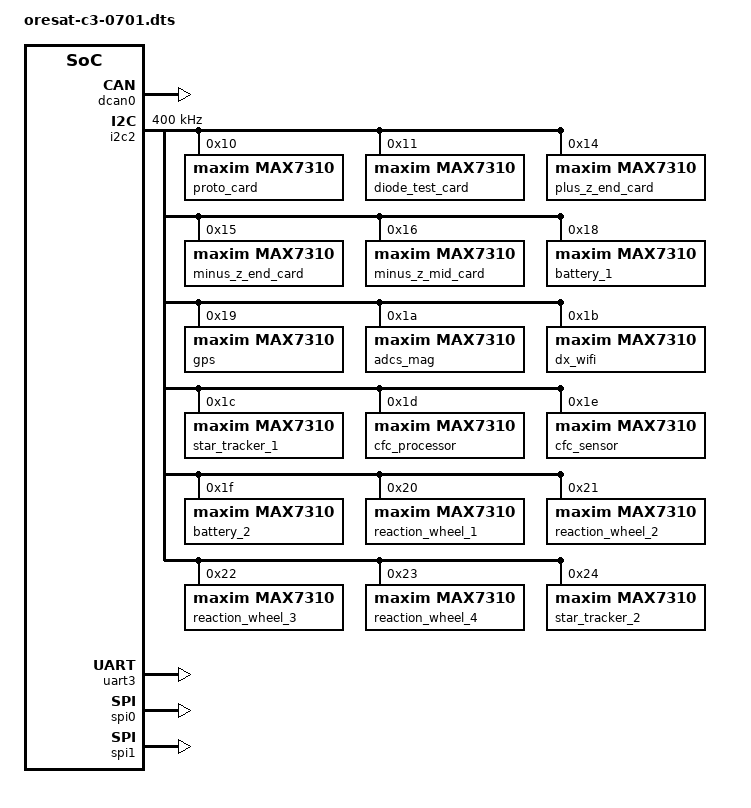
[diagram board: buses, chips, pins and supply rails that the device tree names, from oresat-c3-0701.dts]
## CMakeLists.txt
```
# SPDX-License-Identifier: Apache-2.0

cmake_minimum_required(VERSION 3.20.0)

list(APPEND BOARD_ROOT ${CMAKE_CURRENT_SOURCE_DIR})
set(BOARD "mcxn947_science_card/mcxn947/cpu0")

find_package(Zephyr REQUIRED HINTS $ENV{ZEPHYR_BASE})
project(osiris_science_card)

set(VERSION_MAJOR "1")
set(VERSION_MINOR "0")
set(PATCHLEVEL "0")
set(VERSION_TWEAK "0")
set(EXTRAVERSION "00000000")

find_package(Git QUIET REQUIRED)

execute_process(
    COMMAND "${GIT_EXECUTABLE}" describe --always HEAD
    WORKING_DIRECTORY "${CMAKE_SOURCE_DIR}"
    RESULT_VARIABLE res
    OUTPUT_VARIABLE EXTRAVERSION
    ERROR_QUIET
    OUTPUT_STRIP_TRAILING_WHITESPACE)

set_property(GLOBAL APPEND
    PROPERTY CMAKE_CONFIGURE_DEPENDS
    "${CMAKE_SOURCE_DIR}/.git/index")

#
# utilize settings to autogenerate a header file to adjust the build inside the C code
#
configure_file (
   "${PROJECT_SOURCE_DIR}/src/VERSION.in"
   "${PROJECT_SOURCE_DIR}/VERSION"
   )
include_directories("${PROJECT_SOURCE_DIR}") # needed so c code can find this header

target_sources(app PRIVATE src/main.c)

# Compile in various demos depending on Kconfig values.
target_sources_ifdef(CONFIG_ADC_INTF     app PRIVATE src/adc.c)
target_sources_ifdef(CONFIG_BLINK        app PRIVATE src/blink.c)
target_sources_ifdef(CONFIG_OSIRIS       app PRIVATE src/osiris.c)
target_sources_ifdef(CONFIG_INSTLOOP     app PRIVATE src/serial.c)
target_sources_ifdef(CONFIG_CAN_INTF     app PRIVATE src/can.c)
target_sources_ifdef(CONFIG_CAN_INTF     app PRIVATE src/can_util.c)
target_sources_ifdef(CONFIG_CAN_INTF     app PRIVATE objdict/CO_OD.c)
zephyr_include_directories(objdict)
```

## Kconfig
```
# SPDX-License-Identifier: Apache-2.0

menu "Oresat MCXN947 Science Card"

	config ADC_INTF
		bool "Enable monitoring one or more ADC channels."
		select ADC
		select DMA
		select ADC_STM32 if SOC_STM32F091XC
		select ADC_STM32_DMA if SOC_STM32F091XC
		select DMA_STM32 if SOC_STM32F091XC
		help
		  Outputs the data scaled to mV.

	if ADC_INTF

		config SEQUENCE_SAMPLES
			int "Number of samples to be made on the sequence for each channel."
			default 1

   	config SEQUENCE_OVERSAMPLING
   		int "Number of conversion results to average for each sample."
   		default 7

		config SEQUENCE_RESOLUTION
			int "Set the resolution of the sequence readings."
			default 12

		config SEQUENCE_32BITS_REGISTERS
			bool "ADC data sequences are on 32bits"
			default n

	endif  # ADC_INTF

config BLINK
	bool "Blink an LED"
	default y
	help
	  Enable the thread which blinks an LED.

config OSIRIS
	bool "Osiris boot control"
	default y
	help
	  Enable the thread that controls the OSIRIS bootup process.

config INSTLOOP
	bool "Serial loop between the instrument and c3"
	default y
	help
	  Enable the thread that loops the UART device.

config CAN_INTF
	bool "Enable sending CAN packets."
	default y
	select CAN
	select CANOPENNODE
	select USE_STM32_HAL_FLASH if SOC_STM32F091XC
	select USE_STM32_HAL_FLASH_EX if SOC_STM32F091XC
	select USE_STM32_HAL_CAN if SOC_STM32F091XC
	help
	  Enable CAN interface and send data from CO_OD.

	if CAN_INTF && !SOC_STM32F091XC

		config MCUBOOT_ALLOWED
			bool "MCUboot allowed."
			default y
			select BOOTLOADER_MCUBOOT
			select MCUBOOT_GENERATE_UNSIGNED_IMAGE
			select FLASH
			select FLASH_MAP
			select STREAM_FLASH
			select IMG_MANAGER
			select MCUBOOT_GENERATE_CONFIRMED_IMAGE
			select CANOPENNODE_PROGRAM_DOWNLOAD
			help
			  Define helper symbol CONFIG_MCUBOOT_ALLOWED for all supported
			  architectures that have room for the required partitions in flash
			  and have those partitions defined in the device tree. This
			  eliminates the need for the user to either change prj.conf to
			  enable MCUBOOT or provide an EXTRA_CONF_FILE option to west that
			  names an overlay file.

		config CAN_ID_MUST_BE_SET
			bool "Do not contine if CAN node id not set."
			default y
			help
			  If enabled, do not perform normal functions if CAN node id
			  is not stored in settings.

	endif
endmenu

source "Kconfig.zephyr"
```

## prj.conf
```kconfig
CONFIG_GPIO=y
CONFIG_CONSOLE=y
CONFIG_UART_CONSOLE=y
CONFIG_STDOUT_CONSOLE=y
CONFIG_ORESAT_COMMON_LIB=y
CONFIG_APPLICATION_INIT_PRIORITY=91
CONFIG_BUILD_OUTPUT_HEX=y

CONFIG_SYSTEM_WORKQUEUE_STACK_SIZE=2048
CONFIG_MAIN_STACK_SIZE=2048
CONFIG_HEAP_MEM_POOL_SIZE=4096

CONFIG_HWINFO=y
CONFIG_RTIO=y
CONFIG_RTIO_SYS_MEM_BLOCKS=y

# CONFIG_I2C=y
# CONFIG_SENSOR=y
# CONFIG_SENSOR_ASYNC_API=y
# CONFIG_I2C_MCUX_LPI2C_BUS_RECOVERY=y

CONFIG_CAN_INTF=y
CONFIG_CANOPENNODE_SYNC_THREAD=n
CONFIG_CAN_MCUX_FLEXCAN_MAX_FILTERS=6
CONFIG_CANOPENNODE_SDO_BUFFER_SIZE=889
CONFIG_CAN_DEFAULT_BITRATE=1000000
CONFIG_MCUBOOT_ALLOWED=y
CONFIG_CANOPEN_LOG_LEVEL_DBG=y
CONFIG_CAN_LOG_LEVEL_DBG=y

CONFIG_LOG=y
CONFIG_LOG_MODE_DEFERRED=n
CONFIG_LOG_MODE_IMMEDIATE=y
CONFIG_LOG_BUFFER_SIZE=20480
CONFIG_LOG_PRINTK=y
CONFIG_CBPRINTF_FP_SUPPORT=y

CONFIG_LOG_DEFAULT_LEVEL=3
#CONFIG_SENSOR_LOG_LEVEL_INF=y
#CONFIG_KERNEL_LOG_LEVEL_INF=y
#CONFIG_CANOPEN_LOG_LEVEL_DBG=y
#CONFIG_CAN_LOG_LEVEL_INF=y
#CONFIG_I2C_LOG_LEVEL_DBG=y
#CONFIG_ADC_LOG_LEVEL_INF=y
#CONFIG_DAC_LOG_LEVEL_INF=y
#CONFIG_PWM_LOG_LEVEL_INF=y

CONFIG_ASSERT=y

CONFIG_DEVICE_DT_METADATA=y
CONFIG_REBOOT=y

# changes for settings
CONFIG_FLASH=y
CONFIG_FLASH_MAP=y
CONFIG_SETTINGS=y
CONFIG_SETTINGS_RUNTIME=y
CONFIG_NVS=y
CONFIG_SETTINGS_NVS=y
CONFIG_MPU_ALLOW_FLASH_WRITE=y

# enable/disable app components
CONFIG_BLINK=y

# changes for shell
CONFIG_SHELL=n
##CONFIG_I2C_SHELL=y
#CONFIG_SHELL_LOG_BACKEND=y
##CONFIG_SHELL_CMDS=y

# enforce can ID cannot be default (use shell)
CONFIG_CAN_ID_MUST_BE_SET=n

CONFIG_GPIO_GET_CONFIG=y
CONFIG_INSTLOOP=n
CONFIG_SERIAL=y
CONFIG_RING_BUFFER=y
CONFIG_UART_INTERRUPT_DRIVEN=y
CONFIG_UART_USE_RUNTIME_CONFIGURE=y
CONFIG_OSIRIS=y
```

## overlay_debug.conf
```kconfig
CONFIG_REBOOT=y
CONFIG_ASSERT=n
CONFIG_DEBUG=y

# deferred logging ensures logging has minimal affect on real-time
# responsiveness, but it consumes a lot of RAM and can easily lose
# log messages when debug logging is enabled
CONFIG_LOG_MODE_DEFERRED=n
CONFIG_LOG_MODE_IMMEDIATE=y
CONFIG_LOG_BUFFER_SIZE=20480

CONFIG_SENSOR_LOG_LEVEL_INF=y
CONFIG_KERNEL_LOG_LEVEL_INF=y
CONFIG_CANOPEN_LOG_LEVEL_DBG=y
CONFIG_CAN_LOG_LEVEL_DBG=y

CONFIG_APPLICATION_INIT_PRIORITY=91
CONFIG_DEBUG_THREAD_INFO=y
CONFIG_THREAD_RUNTIME_STATS=y
CONFIG_DEBUG_OPTIMIZATIONS=y
CONFIG_COVERAGE=n

CONFIG_THREAD_ANALYZER=y
CONFIG_THREAD_ANALYZER_USE_PRINTK=y
CONFIG_THREAD_ANALYZER_AUTO=y
CONFIG_THREAD_ANALYZER_AUTO_INTERVAL=300

CONFIG_INIT_STACKS=y
CONFIG_STACK_SENTINEL=y
CONFIG_STACK_CANARIES=y
#CONFIG_HW_STACK_PROTECTION=y

CONFIG_TEST_RANDOM_GENERATOR=y

CONFIG_DEBUG_THREAD_INFO=y
CONFIG_THREAD_RUNTIME_STATS=y
CONFIG_DEBUG_OPTIMIZATIONS=y
CONFIG_COVERAGE=n

#CONFIG_DEBUG_COREDUMP=y
#CONFIG_DEBUG_COREDUMP_BACKEND_LOGGING=y
#CONFIG_DEBUG_COREDUMP_LOG_LEVEL_DBG=y
#CONFIG_DEBUG_COREDUMP_MEMORY_DUMP_THREADS=y
CONFIG_FAULT_DUMP=1
```

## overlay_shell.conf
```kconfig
# This is a special configuration to allow the shell to run in the serial terminal
# interface. It allows setting the CAN nodeid, for example.
# Build instructions:
#   west build -p -- -DEXTRA_CONF_FILE=overlay_shell.conf

CONFIG_LOG_MODE_DEFERRED=y
CONFIG_LOG_MODE_IMMEDIATE=n
CONFIG_LOG_BUFFER_SIZE=20480

CONFIG_SHELL=y
CONFIG_SHELL_LOG_BACKEND=y
CONFIG_CANOPEN_LOG_LEVEL_DBG=y
CONFIG_CAN_LOG_LEVEL_DBG=y

# enable this to add i2c interface scanning, for example
#CONFIG_I2C_SHELL=y
```

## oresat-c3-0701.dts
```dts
/* OreSat C3 v7.0 device tree */

/dts-v1/;

#include "oresat-base.dtsi"

&am33xx_pinmux {
  c3_dcan0_pins: pinmux-c3-dcan0-pins {
    pinctrl-single,pins = <
      AM33XX_IOPAD(AM335X_PIN_MII1_TXD2, PIN_INPUT_PULLUP | MUX_MODE1) /* dcan0_rx */
      AM33XX_IOPAD(AM335X_PIN_MII1_TXD3, PIN_OUTPUT_PULLUP | MUX_MODE1) /* dcan0_tx */
    >;
  };

  c3_spi0_pins: pinmux-c3-spi0-pins {
    pinctrl-single,pins = <
      AM33XX_PADCONF(AM335X_PIN_SPI0_SCLK, PIN_INPUT_PULLUP, MUX_MODE0) /* spi0_sclk */
      AM33XX_PADCONF(AM335X_PIN_SPI0_D0, PIN_INPUT_PULLUP, MUX_MODE0) /* spi0_d0 */
      AM33XX_PADCONF(AM335X_PIN_SPI0_D1, PIN_OUTPUT_PULLUP, MUX_MODE0) /* spi0_d1 */
      AM33XX_PADCONF(AM335X_PIN_SPI0_CS0, PIN_OUTPUT_PULLUP, MUX_MODE0) /* spi0_cs0 */
    >;
  };

  c3_spi1_pins: pinmux-c3-spi1-pins {
    pinctrl-single,pins = <
      AM33XX_IOPAD(AM335X_PIN_ECAP0_IN_PWM0_OUT, PIN_INPUT_PULLUP | MUX_MODE4) /* spi1_sclk */
      AM33XX_IOPAD(AM335X_PIN_UART0_CTSN, PIN_INPUT_PULLUP | MUX_MODE4) /* spi1_d0 */
      AM33XX_IOPAD(AM335X_PIN_UART0_RTSN, PIN_OUTPUT_PULLUP | MUX_MODE4) /* spi1_d1 */
      AM33XX_IOPAD(AM335X_PIN_XDMA_EVENT_INTR0, PIN_OUTPUT_PULLUP | MUX_MODE4) /* spi1_cs1 */
    >;
  };

  c3_i2c2_pins: pinmux-c3-i2c2-pins {
    pinctrl-single,pins = <
      AM33XX_IOPAD(AM335X_PIN_UART1_CTSN, PIN_INPUT | MUX_MODE3) /* i2c2_sda */
      AM33XX_IOPAD(AM335X_PIN_UART1_RTSN, PIN_INPUT | MUX_MODE3) /* i2c2_scl */
    >;
  };

  c3_uart3_pins: pinmux-uart3-pins {
    pinctrl-single,pins = <
      AM33XX_PADCONF(AM335X_PIN_MII1_RXD3, PIN_INPUT_PULLUP, MUX_MODE1) /* uart3_rxd */
      AM33XX_PADCONF(AM335X_PIN_MII1_RXD2, PIN_OUTPUT_PULLDOWN, MUX_MODE1) /* uart3_txd */
    >;
  };

  c3_gpio0_pins: pinmux-c3-gpio0-pins {
    pinctrl-single,pins = <
      AM33XX_IOPAD(AM335X_PIN_XDMA_EVENT_INTR1, PIN_INPUT | MUX_MODE7) /* gpio0_20 / FIRE_ANTENNAS_1 */
      AM33XX_IOPAD(AM335X_PIN_MII1_TXD1, PIN_OUTPUT | MUX_MODE7) /* gpio0_21 / LBAND_LO_SDATA */
      AM33XX_IOPAD(AM335X_PIN_MII1_TXD0, PIN_OUTPUT | MUX_MODE7) /* gpio0_28 / LBAND_LO_SCLK */
      AM33XX_IOPAD(AM335X_PIN_RMII1_REF_CLK, PIN_INPUT | MUX_MODE7) /* gpio0_29 / LBAND_LO_nLOCKED */
      AM33XX_IOPAD(AM335X_PIN_GPMC_WAIT0, PIN_INPUT | PIN_INPUT_PULLDOWN | MUX_MODE7) /* gpio0_30 / UHF_IRQ */
      AM33XX_IOPAD(AM335X_PIN_GPMC_WPN, PIN_INPUT | PIN_INPUT_PULLDOWN | MUX_MODE7) /* gpio0_31 / LBAND_IRQ */
    >;
  };

  c3_gpio1_pins: pinmux-c3-gpio1-pins {
    pinctrl-single,pins = <
      AM33XX_IOPAD(AM335X_PIN_GPMC_AD13, PIN_OUTPUT | MUX_MODE7) /* gpio1_13 / I2C_SYS_DISABLE */
      AM33XX_IOPAD(AM335X_PIN_GPMC_AD14, PIN_OUTPUT | MUX_MODE7) /* gpio1_14 / USB_OVER_UART */
      AM33XX_IOPAD(AM335X_PIN_GPMC_A0, PIN_OUTPUT | MUX_MODE7) /* gpio1_16 / UHF_ENABLE */
      AM33XX_IOPAD(AM335X_PIN_GPMC_A3, PIN_OUTPUT | MUX_MODE7) /* gpio1_19 / LBAND_ENABLE */
      AM33XX_IOPAD(AM335X_PIN_GPMC_A9, PIN_INPUT | MUX_MODE7) /* gpio1_25 / UHF_TOT_OK */
      AM33XX_IOPAD(AM335X_PIN_GPMC_A10, PIN_OUTPUT | MUX_MODE7) /* gpio1_26 / UHF_TOT_CLEAR */
      AM33XX_IOPAD(AM335X_PIN_GPMC_A11, PIN_OUTPUT | MUX_MODE7) /* gpio1_27 / UHF_PA_ENABLE */
    >;
  };

  c3_gpio2_pins: pinmux-c3-gpio2-pins {
    pinctrl-single,pins = <
      AM33XX_IOPAD(AM335X_PIN_LCD_VSYNC, PIN_OUTPUT | MUX_MODE7) /* gpio2_22 / RADIO_ENABLE */
      AM33XX_IOPAD(AM335X_PIN_LCD_AC_BIAS_EN, PIN_OUTPUT | MUX_MODE7) /* gpio2_25 / PET_WDT */
    >;
  };

  c3_gpio3_pins: pinmux-c3-gpio3-pins {
    pinctrl-single,pins = <
      AM33XX_IOPAD(AM335X_PIN_MII1_TX_CLK, PIN_OUTPUT | MUX_MODE7) /* gpio3_9 / LBAND_LO_nSEN */
      AM33XX_IOPAD(AM335X_PIN_MCASP0_ACLKX, PIN_INPUT | MUX_MODE7) /* gpio3_14 / FIRE_HELICAL_2 */
      AM33XX_IOPAD(AM335X_PIN_MCASP0_FSX, PIN_OUTPUT | MUX_MODE7) /* gpio3_15 / TEST_HELICAL */
      AM33XX_IOPAD(AM335X_PIN_MCASP0_AXR0, PIN_INPUT | MUX_MODE7) /* gpio3_16 / FIRE_HELICAL_1 */
      AM33XX_IOPAD(AM335X_PIN_MCASP0_AHCLKR, PIN_OUTPUT | MUX_MODE7) /* gpio3_17 / TEST_ANTENNAS */
      AM33XX_IOPAD(AM335X_PIN_MCASP0_ACLKR, PIN_INPUT | MUX_MODE7) /* gpio3_18 / RADIO_nFAULT */
      AM33XX_IOPAD(AM335X_PIN_MCASP0_FSR, PIN_INPUT | MUX_MODE7) /* gpio3_19 / OPD_nFAULT */
      AM33XX_IOPAD(AM335X_PIN_MCASP0_AXR1, PIN_OUTPUT | MUX_MODE7) /* gpio3_20 / OPD_nENABLE */
      AM33XX_IOPAD(AM335X_PIN_MCASP0_AHCLKX, PIN_INPUT | MUX_MODE7) /* gpio3_21 / FIRE_ANTENNAS_2 */
    >;
  };
};

&gpio0 {
  pinctrl-names = "default";
  pinctrl-0 = <&c3_gpio0_pins>;
  gpio-line-names =
    /* 0  */ "",
    /* 1  */ "",
    /* 2  */ "",
    /* 3  */ "",
    /* 4  */ "",
    /* 5  */ "",
    /* 6  */ "",
    /* 7  */ "",
    /* 8  */ "",
    /* 9  */ "",
    /* 10 */ "",
    /* 11 */ "",
    /* 12 */ "",
    /* 13 */ "",
    /* 14 */ "",
    /* 15 */ "",
    /* 16 */ "",
    /* 17 */ "",
    /* 18 */ "",
    /* 19 */ "",
    /* 20 */ "FIRE_ANTENNAS_1",
    /* 21 */ "LBAND_LO_SDATA",
    /* 22 */ "",
    /* 23 */ "",
    /* 24 */ "",
    /* 25 */ "",
    /* 26 */ "",
    /* 27 */ "",
    /* 28 */ "LBAND_LO_SCLK",
    /* 29 */ "LBAND_LO_nLOCKED",
    /* 30 */ "UHF_IRQ",
    /* 31 */ "LBAND_IRQ";
};

&gpio1 {
  pinctrl-names = "default";
  pinctrl-0 = <&c3_gpio1_pins>;
  gpio-line-names =
    /* 0  */ "",
    /* 1  */ "",
    /* 2  */ "",
    /* 3  */ "",
    /* 4  */ "",
    /* 5  */ "",
    /* 6  */ "",
    /* 7  */ "",
    /* 8  */ "",
    /* 9  */ "",
    /* 10 */ "",
    /* 11 */ "",
    /* 12 */ "",
    /* 13 */ "I2C_SYS_DISABLE",
    /* 14 */ "USB_OVER_UART",
    /* 15 */ "",
    /* 16 */ "UHF_ENABLE",
    /* 17 */ "",
    /* 18 */ "",
    /* 19 */ "LBAND_ENABLE",
    /* 20 */ "",
    /* 21 */ "USR0",
    /* 22 */ "USR1",
    /* 23 */ "USR2",
    /* 24 */ "USR3",
    /* 25 */ "UHF_TOT_OK",
    /* 26 */ "UHF_TOT_CLEAR",
    /* 27 */ "UHF_PA_ENABLE",
    /* 28 */ "",
    /* 29 */ "",
    /* 30 */ "",
    /* 31 */ "";
};

&gpio2 {
  pinctrl-names = "default";
  pinctrl-0 = <&c3_gpio2_pins>;
  gpio-line-names =
    /* 0  */ "",
    /* 1  */ "",
    /* 2  */ "",
    /* 3  */ "",
    /* 4  */ "",
    /* 5  */ "",
    /* 6  */ "",
    /* 7  */ "",
    /* 8  */ "",
    /* 9  */ "",
    /* 10 */ "",
    /* 11 */ "",
    /* 12 */ "",
    /* 13 */ "",
    /* 14 */ "",
    /* 15 */ "",
    /* 16 */ "",
    /* 17 */ "",
    /* 18 */ "",
    /* 19 */ "",
    /* 20 */ "",
    /* 21 */ "",
    /* 22 */ "RADIO_ENABLE",
    /* 23 */ "",
    /* 24 */ "",
    /* 25 */ "PET_WDT",
    /* 26 */ "",
    /* 27 */ "",
    /* 28 */ "",
    /* 29 */ "",
    /* 30 */ "",
    /* 31 */ "";
};

&gpio3 {
  pinctrl-names = "default";
  pinctrl-0 = <&c3_gpio3_pins>;
  gpio-line-names =
    /* 0  */ "",
    /* 1  */ "",
    /* 2  */ "",
    /* 3  */ "",
    /* 4  */ "",
    /* 5  */ "",
    /* 6  */ "",
    /* 7  */ "",
    /* 8  */ "",
    /* 9  */ "LBAND_LO_nSEN",
    /* 10 */ "",
    /* 11 */ "",
    /* 12 */ "",
    /* 13 */ "",
    /* 14 */ "FIRE_HELICAL_2",
    /* 15 */ "TEST_HELICAL",
    /* 16 */ "FIRE_HELICAL_1",
    /* 17 */ "TEST_ANTENNAS",
    /* 18 */ "RADIO_nFAULT",
    /* 19 */ "OPD_nFAULT",
    /* 20 */ "OPD_nENABLE",
    /* 21 */ "FIRE_ANTENNAS_2",
    /* 22 */ "",
    /* 23 */ "",
    /* 24 */ "",
    /* 25 */ "",
    /* 26 */ "",
    /* 27 */ "",
    /* 28 */ "",
    /* 29 */ "",
    /* 30 */ "",
    /* 31 */ "";
};

&dcan0 {
  status = "okay";
  pinctrl-names = "default";
  pinctrl-0 = <&c3_dcan0_pins>;
};

&i2c2 {
  #address-cells = <1>;
  #size-cells = <0>;
  status = "okay";
  pinctrl-names = "default";
  pinctrl-0 = <&c3_i2c2_pins>;
  clock-frequency = <400000>;

  proto_card: gpio@10 {
    compatible = "maxim,max7310";
    reg = <0x10>;
    gpio-controller;
    #gpio-cells = <2>;
    gpio-line-names =
      /* 0  */ "M33",
      /* 1  */ "",
      /* 2  */ "FAULT",
      /* 3  */ "[ON/OFF]",
      /* 4  */ "CB-RESET",
      /* 5  */ "nISPMODE",
      /* 6  */ "",
      /* 7  */ "UART_EN";
  };

  diode_test_card: gpio@11 {
    compatible = "maxim,max7310";
    reg = <0x11>;
    gpio-controller;
    #gpio-cells = <2>;
    gpio-line-names =
      /* 0  */ "M0",
      /* 1  */ "",
      /* 2  */ "FAULT",
      /* 3  */ "[ON/OFF]",
      /* 4  */ "CB-RESET",
      /* 5  */ "BOOT0",
      /* 6  */ "",
      /* 7  */ "UART_EN";
  };

  plus_z_end_card: gpio@14 {
    compatible = "maxim,max7310";
    reg = <0x14>;
    gpio-controller;
    #gpio-cells = <2>;
    gpio-line-names =
      /* 0  */ "READ_HELICAL",
      /* 1  */ "FIRE_HELICAL_1",
      /* 2  */ "FIRE_HELICAL_2",
      /* 3  */ "TEST_HELICAL",
      /* 4  */ "PX_UART_EN",
      /* 5  */ "PY_UART_EN",
      /* 6  */ "MX_UART_EN",
      /* 7  */ "MY_UART_EN";
  };
  
  minus_z_end_card: gpio@15 {
    compatible = "maxim,max7310";
    reg = <0x15>;
    gpio-controller;
    #gpio-cells = <2>;
    gpio-line-names =
      /* 0  */ "READ_ANTENNAS",
      /* 1  */ "FIRE_ANTENNAS_1",
      /* 2  */ "FIRE_ANTENNAS_2",
      /* 3  */ "TEST_ANTENNAS",
      /* 4  */ "PX_UART_EN",
      /* 5  */ "PY_UART_EN",
      /* 6  */ "MX_UART_EN",
      /* 7  */ "MY_UART_EN";
  };

  minus_z_mid_card: gpio@16 {
    compatible = "maxim,max7310";
    reg = <0x16>;
    gpio-controller;
    #gpio-cells = <2>;
    gpio-line-names =
      /* 0  */ "READ_ANTENNAS",
      /* 1  */ "FIRE_ANTENNAS_1",
      /* 2  */ "FIRE_ANTENNAS_2",
      /* 3  */ "TEST_ANTENNAS",
      /* 4  */ "PX_UART_EN",
      /* 5  */ "PY_UART_EN",
      /* 6  */ "MX_UART_EN",
      /* 7  */ "MY_UART_EN";
  };

  battery_1: gpio@18 {
    compatible = "maxim,max7310";
    reg = <0x18>;
    gpio-controller;
    #gpio-cells = <2>;
    gpio-line-names =
      /* 0  */ "",
      /* 1  */ "",
      /* 2  */ "FAULT",
      /* 3  */ "[ON/OFF]",
      /* 4  */ "CB-RESET",
      /* 5  */ "nISPMODE",
      /* 6  */ "",
      /* 7  */ "UART_EN";
  };

  gps: gpio@19 {
    compatible = "maxim,max7310";
    reg = <0x19>;
    gpio-controller;
    #gpio-cells = <2>;
    gpio-line-names =
      /* 0  */ "SYSBOOT2",
      /* 1  */ "",
      /* 2  */ "FAULT",
      /* 3  */ "[ON/OFF]",
      /* 4  */ "CB-RESET",
      /* 5  */ "",
      /* 6  */ "",
      /* 7  */ "UART_EN";
  };

  adcs_mag: gpio@1a {
    compatible = "maxim,max7310";
    reg = <0x1a>;
    gpio-controller;
    #gpio-cells = <2>;
    gpio-line-names =
      /* 0  */ "",
      /* 1  */ "",
      /* 2  */ "FAULT",
      /* 3  */ "[ON/OFF]",
      /* 4  */ "CB-RESET",
      /* 5  */ "nISPMODE",
      /* 6  */ "",
      /* 7  */ "UART_EN";
  };

  dx_wifi: gpio@1b {
    compatible = "maxim,max7310";
    reg = <0x1b>;
    gpio-controller;
    #gpio-cells = <2>;
    gpio-line-names =
      /* 0  */ "SYSBOOT2",
      /* 1  */ "",
      /* 2  */ "FAULT",
      /* 3  */ "[ON/OFF]",
      /* 4  */ "CB-RESET",
      /* 5  */ "",
      /* 6  */ "",
      /* 7  */ "UART_EN";
  };

  star_tracker_1: gpio@1c {
    compatible = "maxim,max7310";
    reg = <0x1c>;
    gpio-controller;
    #gpio-cells = <2>;
    gpio-line-names =
      /* 0  */ "",
      /* 1  */ "",
      /* 2  */ "FAULT",
      /* 3  */ "[ON/OFF]",
      /* 4  */ "CB-RESET",
      /* 5  */ "",
      /* 6  */ "",
      /* 7  */ "UART_EN";
  };

  cfc_processor: gpio@1d {
    compatible = "maxim,max7310";
    reg = <0x1d>;
    gpio-controller;
    #gpio-cells = <2>;
    gpio-line-names =
      /* 0  */ "",
      /* 1  */ "",
      /* 2  */ "FAULT",
      /* 3  */ "[ON/OFF]",
      /* 4  */ "CB-RESET",
      /* 5  */ "SYSBOOT",
      /* 6  */ "",
      /* 7  */ "UART_EN";
  };

  cfc_sensor: gpio@1e {
    compatible = "maxim,max7310";
    reg = <0x1e>;
    gpio-controller;
    #gpio-cells = <2>;
    gpio-line-names =
      /* 0  */ "",
      /* 1  */ "",
      /* 2  */ "FAULT",
      /* 3  */ "[ON/OFF]",
      /* 4  */ "CB-RESET",
      /* 5  */ "",
      /* 6  */ "",
      /* 7  */ "UART_EN";
  };

  battery_2: gpio@1f {
    compatible = "maxim,max7310";
    reg = <0x1f>;
    gpio-controller;
    #gpio-cells = <2>;
    gpio-line-names =
      /* 0  */ "",
      /* 1  */ "",
      /* 2  */ "FAULT",
      /* 3  */ "[ON/OFF]",
      /* 4  */ "CB-RESET",
      /* 5  */ "nISPMODE",
      /* 6  */ "",
      /* 7  */ "UART_EN";
  };

  reaction_wheel_1: gpio@20 {
    compatible = "maxim,max7310";
    reg = <0x20>;
    gpio-controller;
    #gpio-cells = <2>;
    gpio-line-names =
      /* 0  */ "",
      /* 1  */ "",
      /* 2  */ "FAULT",
      /* 3  */ "[ON/OFF]",
      /* 4  */ "CB-RESET",
      /* 5  */ "BOOT0",
      /* 6  */ "",
      /* 7  */ "UART_EN";
  };

  reaction_wheel_2: gpio@21 {
    compatible = "maxim,max7310";
    reg = <0x21>;
    gpio-controller;
    #gpio-cells = <2>;
    gpio-line-names =
      /* 0  */ "",
      /* 1  */ "",
      /* 2  */ "FAULT",
      /* 3  */ "[ON/OFF]",
      /* 4  */ "CB-RESET",
      /* 5  */ "BOOT0",
      /* 6  */ "",
      /* 7  */ "UART_EN";
  };

  reaction_wheel_3: gpio@22 {
    compatible = "maxim,max7310";
    reg = <0x22>;
    gpio-controller;
    #gpio-cells = <2>;
    gpio-line-names =
      /* 0  */ "",
      /* 1  */ "",
      /* 2  */ "FAULT",
      /* 3  */ "[ON/OFF]",
      /* 4  */ "CB-RESET",
      /* 5  */ "BOOT0",
      /* 6  */ "",
      /* 7  */ "UART_EN";
  };

  reaction_wheel_4: gpio@23 {
    compatible = "maxim,max7310";
    reg = <0x23>;
    gpio-controller;
    #gpio-cells = <2>;
    gpio-line-names =
      /* 0  */ "",
      /* 1  */ "",
      /* 2  */ "FAULT",
      /* 3  */ "[ON/OFF]",
      /* 4  */ "CB-RESET",
      /* 5  */ "BOOT0",
      /* 6  */ "",
      /* 7  */ "UART_EN";
  };

  star_tracker_2: gpio@24 {
    compatible = "maxim,max7310";
    reg = <0x24>;
    gpio-controller;
    #gpio-cells = <2>;
    gpio-line-names =
      /* 0  */ "",
      /* 1  */ "",
      /* 2  */ "FAULT",
      /* 3  */ "[ON/OFF]",
      /* 4  */ "CB-RESET",
      /* 5  */ "",
      /* 6  */ "",
      /* 7  */ "UART_EN";
  };
};


&uart3 {
  pinctrl-names = "default";
  pinctrl-0 = <&c3_uart3_pins>;
  status = "okay";
};

&spi0 {
  #address-cells = <1>;
  #size-cells = <0>;
  status = "okay";
  pinctrl-names = "default";
  pinctrl-0 = <&c3_spi0_pins>;

  channel@0 {
    status = "okay";
    reg = <0>;
  };
};

&spi1 {
  #address-cells = <1>;
  #size-cells = <0>;
  status = "okay";
  pinctrl-names = "default";
  pinctrl-0 = <&c3_spi1_pins>;

  channel@1 {
    status = "okay";
    reg = <1>;
  };
};
```

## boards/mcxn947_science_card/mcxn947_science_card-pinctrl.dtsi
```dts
/*
 * Copyright 2024 NXP
 * SPDX-License-Identifier: Apache-2.0
 */


#include <nxp/mcx/MCXN947VNL-pinctrl.h>

&pinctrl {
/* Pin 21/P2_7 (TX) Pin 16/P2_2 (RX) */
/* Talks to the instrument */
	/* pinmux_flexcomm9_lpuart: pinmux_flexcomm9_lpuart {
		group0 {
			pinmux = <FC9_P0_PIO2_4>,
				<FC9_P1_PIO2_3>;
			slew-rate = "fast";
			bias-pull-up;
			drive-strength = "low";
			input-enable;
		};
	}; */

/* Pins 1 and 2, or P1_8 and P1_9 */
/* UART connection to the backplane/debug connector. */
	pinmux_flexcomm4_lpuart: pinmux_flexcomm4_lpuart { // Done.
		group0 {
			pinmux = <FC4_P0_PIO1_8>,
				<FC4_P1_PIO1_9>;
			slew-rate = "fast";
			bias-pull-up;
			drive-strength = "low";
			input-enable;
		};
	};

/* Pins 35 and 36, or P4_0 and P4_1 */
/* UART connection to the c3 (ccc). */
	/* pinmux_flexcomm2_lpuart: pinmux_flexcomm2_lpuart {
		group0 {
			pinmux = <FC2_P0_PIO4_12>,
				<FC2_P1_PIO4_13>;
			slew-rate = "fast";
			bias-pull-up;
			drive-strength = "low";
			input-enable;
		};
	}; */

/* Pins number 3 and 4, or P1_10 and P1_11. */
/* Connect to CAN2 on the backplane. CAN1 is unconnected. that might be an issue? */
	pinmux_flexcan0: pinmux_flexcan0 { // Done.
		group0 {
			pinmux = <CAN0_TXD_PIO1_10>,
				<CAN0_RXD_PIO1_11>;
			slew-rate = "fast";
			drive-strength = "low";
			input-enable;
		};
	};

/* TP30 = PIO4_0  = ADC0_CH0 = MAX4211 Iout measurement */
/* TP44 = PIO4_15 = ADC0_CH1 */
	pinmux_lpadc0: pinmux_lpadc0 {
		group0 {
			pinmux = <ADC0_A0_PIO4_0>;
			slew-rate = "fast";
			drive-strength = "low";
		};
	};
};
```

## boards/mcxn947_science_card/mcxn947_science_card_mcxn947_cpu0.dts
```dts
/dts-v1/;

#include "mcxn947_science_card_mcxn947_cpu0.dtsi"
#include "mcxn947_science_card-pinctrl.dtsi"

/ {
	model = "NXP MCXN947 science card";
	compatible = "nxp,mcxn947", "nxp,mcx";
};
```

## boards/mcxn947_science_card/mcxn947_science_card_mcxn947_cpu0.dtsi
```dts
/*
 * Copyright 2024 NXP
 *
 * SPDX-License-Identifier: Apache-2.0
 */

/* Common dts file to enable supported features for CPU 0.
 * This file is included by both the default variant
 * which is run from internal flash and the QSPI variant.
 */
/dts-v1/;

#include <nxp/mcx/nxp_mcxn94x.dtsi>
#include <zephyr/dt-bindings/i2c/i2c.h>
#include <zephyr/dt-bindings/gpio/gpio.h>
#include <zephyr/dt-bindings/adc/adc.h>
#include <zephyr/dt-bindings/adc/mcux-lpadc.h>
#include <zephyr/dt-bindings/spi/spi.h>
#include <zephyr/dt-bindings/gpio/nxp-kinetis-gpio.h>
#include <zephyr/dt-bindings/pwm/pwm.h>
#include <zephyr/dt-bindings/sensor/rm3100.h>

/ {
	cpus {
		/delete-node/ cpu@1;
	};

	oresat_demo: oresat-demo-enabled {}; /* Enable demos for supported boards */

	chosen {
		zephyr,sram = &sram0;
		zephyr,flash = &flash;
		zephyr,flash-controller = &fmu;
		zephyr,code-partition = &slot0_partition;
		zephyr,uart-mcumgr = &flexcomm4_lpuart4;
		zephyr,console = &flexcomm4_lpuart4;
		zephyr,shell-uart = &flexcomm4_lpuart4;
		zephyr,canbus = &flexcan0;
		zephyr,code-cpu1-partition = &slot1_partition;
		/* uart,ccc = &flexcomm2_lpuart2; */
	};

	aliases{
		led0 = &amber_led;
		watchdog0 = &wwdt0;
		rtc = &rtc;
		adc0 = &lpadc0;
		/* instr = &flexcomm9_lpuart9; */
	};

	leds {
		compatible = "gpio-leds";
		amber_led: led_1 {
			gpios = <&gpio1 13 GPIO_ACTIVE_LOW>;
			label = "Amber LED";
			status = "okay";
		};
	};

	scigpios: sci-gpios {
		compatible = "science-card";
		btldin_1_gpios = <&gpio3 0 GPIO_ACTIVE_HIGH>;	/* out. Set high to boot with the SD card? */
		btldin_0_gpios = <&gpio3 1 GPIO_ACTIVE_HIGH>;	/* out. Set high to boot with the SD card? */
		ocxo_no_en_gpios = <&gpio3 15 GPIO_ACTIVE_LOW>;	/* out. Set high to disable oxco */
		sep_no_en_gpios  = <&gpio3 16 GPIO_ACTIVE_LOW>;	/* out. Set high to disable septentrio */
		pico_no_en_gpios = <&gpio3 17 GPIO_ACTIVE_LOW>;	/* out. Set high to disable picozed */
	};
};

&flexcomm0 {
	status = "okay";
};

/* &flexcomm2 {
	status = "okay";
}; */

&flexcomm4 {
	status = "okay";
};

/* &flexcomm9 {
	status = "okay";
}; */

/* &flexcomm2_lpuart2 {
	current-speed = <115200>;
	pinctrl-0 = <&pinmux_flexcomm2_lpuart>;
	pinctrl-names = "default";
	status = "okay";
}; */

&flexcomm4_lpuart4 {
	current-speed = <115200>;
	pinctrl-0 = <&pinmux_flexcomm4_lpuart>;
	pinctrl-names = "default";
	status = "okay";
};

/* &flexcomm9_lpuart9 {
	current-speed = <115200>;
	pinctrl-0 = <&pinmux_flexcomm9_lpuart>;
	pinctrl-names = "default";
	status = "okay";
}; */

&flexcan0 {
	pinctrl-0 = <&pinmux_flexcan0>;
	pinctrl-names = "default";
	status = "okay";
};

/*
 * Default for this board is to allocate SRAM0-5 to cpu0 but the
 * application can have an application specific device tree to
 * allocate the SRAM0-7 differently.
 *
 * For example, SRAM0-6 could be allocated to cpu0 with only SRAM7
 * for cpu1. This would require the value of sram0 to have a DT_SIZE_K
 * of 384. You would have to make updates to cpu1 sram settings as well.
 */
&sram0 {
	compatible = "mmio-sram";
	reg = <0x20000000 DT_SIZE_K(320)>;
};

&sram {
	sramg: memory@20050000 {
		compatible = "mmio-sram";
		reg = <0x20050000 DT_SIZE_K(64)>;
	};
	sramh: memory@20060000 {
		compatible = "mmio-sram";
		reg = <0x20060000 DT_SIZE_K(32)>;
	};
};

&flash {
	partitions {
		compatible = "fixed-partitions";
		#address-cells = <1>;
		#size-cells = <1>;

		/*
		 * Partition sizes must be aligned
		 * to the flash memory sector size of 8KiB.
		 *
		 * There is a 16KiB separation between slot0 and slot1. This replicates the slot
		 * that exists in the mag and template firmware.
		 */
		boot_partition: partition@0 {
			label = "mcuboot";
			reg = <0x00000000 DT_SIZE_K(80)>;
		};
		slot0_partition: partition@14000 {
			label = "image-0";
			reg = <0x00014000 DT_SIZE_K(464)>;
		};
		slot1_partition: partition@8C000 {
			label = "image-1";
			reg = <0x0008C000 DT_SIZE_K(464)>;
		};
		storage_partition: partition@100000 {
			label = "storage";
			reg = <0x00100000 DT_SIZE_K(1024)>;
		};
	};
};

&mbox {
	status = "disabled";
};

&gpio4 {
	status = "okay";
};

&gpio1 {
	status = "okay";
};

&gpio3 {
	status = "okay";
};

&gpio0 {
	status = "okay";
};

&gpio2 {
	status = "okay";
};

&edma0 {
	status = "disabled";
};

&wwdt0 {
	status = "okay";
};

&systick {
	status = "okay";
};

&ctimer0 {
	status = "disabled";
};

&vref {
	status = "okay";
};

&lptmr0 {
	status = "disabled";
};

&flexio0 {
	status = "disabled";
};

&mrt0_channel0 {
	status = "disabled";
};

&rtc {
	status = "okay";
};

&enet {
	status = "disabled";
};

&lpadc0 {
	pinctrl-names = "default";
	pinctrl-0 = <&pinmux_lpadc0>;
	#address-cells = <1>;
	#size-cells = <0>;
	status = "okay";
	lpadc0_0: channel@0 { /* Current Draw from MAX */
		reg = <0>;
		zephyr,gain = "ADC_GAIN_1";
		zephyr,reference = "ADC_REF_EXTERNAL0";
		zephyr,vref-mv = <3300>;
		zephyr,acquisition-time = <ADC_ACQ_TIME(ADC_ACQ_TIME_MICROSECONDS,2)>;
		zephyr,resolution = <12>;
		zephyr,oversampling = <7>;
		zephyr,input-positive = <MCUX_LPADC_CH0A>;
		/delete-property/ zephyr,differential;
	};
};
```

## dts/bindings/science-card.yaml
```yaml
# Oresat mag card
# TODO: replace below with proper gpios for mag card; these are from the proto card

description: Oresat science card

compatible: "science-card"

properties:
  btldin_1_gpios:
    type: phandle-array
    required: true
    description: GPIO input or output.

  btldin_0_gpios:
    type: phandle-array
    required: true
    description: GPIO input or output.

  ocxo_no_en_gpios:
    type: phandle-array
    required: true
    description: GPIO input or output.

  sep_no_en_gpios:
    type: phandle-array
    required: true
    description: GPIO input or output.

  pico_no_en_gpios:
    type: phandle-array
    required: true
    description: GPIO input or output.
```

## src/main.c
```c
/*
 * main.c
 *
 * Simple main that only logs a bootup message. The remainder
 * of the functionality is implemented as independent threads in
 * blink.c and others.
 *
 * These can be disabled at compile time by adding:
 *   CONFIG_BLINK=n
 * for example, to prj.conf. See Kconfig for the options or run
 * west build -t menuconfig for an interacive configuration
 * editor.
 */

#include <zephyr/kernel.h>
#include <zephyr/drivers/hwinfo.h>
#include <zephyr/logging/log.h>
#include <version.h>
#include <app_version.h>

LOG_MODULE_REGISTER(osiris_science_card, CONFIG_LOG_DEFAULT_LEVEL);

/** Dump Hardware Info
 *    Show the unique processor id and the reason for reset.
 *
 *    This requires:
 *    #include <zephyr/drivers/hwinfo.h>
 *    prj.conf:
 *    CONFIG_HWINFO=y
 *    Names of reset cause bits defined in same header; e.g.
 *    RESET_POR
 **/
static void dump_hwinfo(void)
{
	uint8_t hwid[32] = {0};
	uint32_t reset_cause;
	int reset_cause_ret;
	int hwid_len;

	hwid_len = hwinfo_get_device_id(hwid,sizeof(hwid)); // returns size of the device id
	reset_cause_ret = hwinfo_get_reset_cause(&reset_cause);
	if (!reset_cause_ret) {
		hwinfo_clear_reset_cause();
	}

	if (hwid_len < 0) {
		LOG_ERR("    Chip     HWID: UNNKOWN (%d", hwid_len);
	} else {
		LOG_HEXDUMP_INF(hwid, hwid_len, "    Chip     HWID: ");
	}
	if (reset_cause_ret < 0) {
		LOG_ERR("      Reset Cause: UNKNOWN (%d)", reset_cause_ret);
	} else {
		LOG_INF("      Reset Cause: 0x%08x", reset_cause);
	}
}

int main(void)
{
	LOG_INF("Oresat MCXN947 Science Board App");
	LOG_INF("   Oresat   Board: %s", CONFIG_BOARD_TARGET);
	dump_hwinfo();
	LOG_INF("   App    Version: %s", APP_VERSION_STRING);
	LOG_INF("   Zephyr Version: %s", KERNEL_VERSION_STRING);

	//LOG_INF("   *** node loader works! ***");
	return 0;
}
```

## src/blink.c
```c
/**
 * blink.c
 *
 * Code came from https://github.com/Blen-E/pracblink, which
 * originally from zephyr/samples/basic/blinky.
 *
 * Modified slightly to run as a thread and use logging.
 */
#include <stdio.h>
#include <zephyr/kernel.h>
#include <zephyr/drivers/gpio.h>
#include <zephyr/sys/printk.h>
#include <zephyr/sys/__assert.h>

#include <zephyr/device.h>
#include <zephyr/devicetree.h>
#include <zephyr/logging/log.h>

LOG_MODULE_REGISTER(oresat_blink, LOG_LEVEL_INF);

/* size of stack area used by each thread */
#define STACKSIZE 1024

/* scheduling priority used by each thread */
#define PRIORITY 7

/* 1000 msec = 1 sec */
#define LED_SLEEP_TIME_MS_SHORT   150
/* 1000 msec = 1 sec */
#define LED_SLEEP_TIME_MS_LONG   600
/* 1000 msec = 1 sec */
#define LED_SLEEP_TIME_MS_BREAK   1500

/* The devicetree node identifier for the "led0" alias. */
#define LED0_NODE DT_ALIAS(led0)


static int handle_blink(void)
{
	int ret;
	const struct gpio_dt_spec led = GPIO_DT_SPEC_GET(LED0_NODE, gpios);

	LOG_INF("Starting blink demo");

	/* Can we use the LED? */
	if (!device_is_ready(led.port)) {
		LOG_ERR("LED device is not ready");
		return -1;
	}

	/* Set it up */
	ret = gpio_pin_configure_dt(&led, GPIO_OUTPUT_ACTIVE);
	if (ret < 0) {
		LOG_ERR("Could not configure the LED GPIO pin: %d", ret);
		return ret;
	}

	/* Thread loop. Trying to have it SOS. Bad way to do that. Whatever. */
	while (1) {
		k_msleep(LED_SLEEP_TIME_MS_BREAK);
		gpio_pin_toggle_dt(&led); /* On: S part 1*/
		k_msleep(LED_SLEEP_TIME_MS_SHORT);
		gpio_pin_toggle_dt(&led); /* Off */
		k_msleep(LED_SLEEP_TIME_MS_SHORT);
		gpio_pin_toggle_dt(&led); /* On: S part 2 */
		k_msleep(LED_SLEEP_TIME_MS_SHORT);
		gpio_pin_toggle_dt(&led); /* Off */
		k_msleep(LED_SLEEP_TIME_MS_SHORT);
		gpio_pin_toggle_dt(&led); /* On: S part 3 */
		k_msleep(LED_SLEEP_TIME_MS_SHORT);
		gpio_pin_toggle_dt(&led); /* Off */
		k_msleep(LED_SLEEP_TIME_MS_LONG);
		gpio_pin_toggle_dt(&led); /* On: O part 1*/
		k_msleep(LED_SLEEP_TIME_MS_LONG);
		gpio_pin_toggle_dt(&led); /* Off */
		k_msleep(LED_SLEEP_TIME_MS_SHORT);
		gpio_pin_toggle_dt(&led); /* On: O part 2*/
		k_msleep(LED_SLEEP_TIME_MS_LONG);
		gpio_pin_toggle_dt(&led); /* Off */
		k_msleep(LED_SLEEP_TIME_MS_SHORT);
		gpio_pin_toggle_dt(&led); /* On: O part 3*/
		k_msleep(LED_SLEEP_TIME_MS_LONG);
		gpio_pin_toggle_dt(&led); /* Off */
		k_msleep(LED_SLEEP_TIME_MS_LONG);
		gpio_pin_toggle_dt(&led); /* On: S part 1*/
		k_msleep(LED_SLEEP_TIME_MS_SHORT);
		gpio_pin_toggle_dt(&led); /* Off */
		k_msleep(LED_SLEEP_TIME_MS_SHORT);
		gpio_pin_toggle_dt(&led); /* On: S part 2 */
		k_msleep(LED_SLEEP_TIME_MS_SHORT);
		gpio_pin_toggle_dt(&led); /* Off */
		k_msleep(LED_SLEEP_TIME_MS_SHORT);
		gpio_pin_toggle_dt(&led); /* On: S part 3 */
		k_msleep(LED_SLEEP_TIME_MS_SHORT);
		gpio_pin_toggle_dt(&led); /* Off */
	}
	return 0;
}

K_THREAD_DEFINE(blink_id, STACKSIZE, handle_blink, NULL, NULL, NULL, PRIORITY, 0, 0);
```

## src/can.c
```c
#include <zephyr/kernel.h>
#include <zephyr/device.h>
#include <zephyr/sys/reboot.h>
#include <zephyr/sys/printk.h>
#include <zephyr/drivers/gpio.h>
#include <zephyr/dfu/mcuboot.h>
#include <zephyr/settings/settings.h>
#include <zephyr/logging/log.h>
#include <canopennode.h>
#include <CO_OD.h>
//#include <board_sensors.h>
#include <oresat.h>

#include "can_util.h"

LOG_MODULE_REGISTER(can_thread, CONFIG_CAN_LOG_LEVEL);

#define CAN_INTERFACE (DEVICE_DT_GET(DT_CHOSEN(zephyr_canbus)))
#define CAN_BITRATE (DT_PROP_OR(DT_CHOSEN(zephyr_canbus), bitrate, \
					 DT_PROP_OR(DT_CHOSEN(zephyr_canbus), bus_speed, \
								CONFIG_CAN_DEFAULT_BITRATE) / 1000))

#define CAN_THREAD_STACK_SIZE 2048
#define CAN_THREAD_PRIORITY 0
#define CAN_STARTUP_DELAY 250

extern const k_tid_t can_id;

#if 0

// FROM CHIBIOS CODE:

void CO_errorReportRateLimited(CO_EM_t *em, const uint8_t errorBit, uint16_t errorCode, uint32_t infoCode, systime_t *last_error_time) {

	const systime_t now_time = chVTGetSystemTime();
	if( chTimeDiffX(*last_error_time, now_time) < 10000 ) {
		return;
	}
	*last_error_time = now_time;

	CO_errorReport(em, errorBit, errorCode, infoCode);
}


#endif

static bool run_self_tests(void)
{
	LOG_INF("Running system self-tests...");

	// Placeholder for board/app-specific checks
	bool tests_passed = true;

	return tests_passed;
}

static void handle_can(void *p1, void *p2, void *p3)
{
	int err;
	uint16_t timeout;
	uint16_t wr_timeout_count;
	uint32_t elapsed = 0U;
	int64_t timestamp;
	CO_NMT_reset_cmd_t reset = CO_RESET_NOT;
	struct canopen_context can = {.dev = CAN_INTERFACE};
	uint8_t node_id = DEFAULT_NODE_ID;

	k_thread_name_set(can_id, "can_thread");
	k_sleep(K_MSEC(CAN_STARTUP_DELAY));

	LOG_INF("Starting CAN thread");

	err = settings_subsys_init();
	if (err) {
		LOG_ERR("settings subsys initialization: fail (err %d)", err);
	} else {
		node_id = load_node_id();
		if (node_id == DEFAULT_NODE_ID) {
			LOG_WRN("CAN node id has not been set!");
#if defined(CONFIG_SHELL)
			LOG_WRN("--> Use shell command to set (type help).");
#else
			LOG_WRN("--> Firmware not built with CONFIG_SHELL=y. Rebuild and flash to update CAN node id.");
#endif
			if (IS_ENABLED(CONFIG_CAN_ID_MUST_BE_SET)) {
				LOG_ERR("Halting.");
				k_msleep(1000);
				__ASSERT(false, "Fatal error");
			}
		}
	}

	// Confirm a newly booted MCUboot image if self-tests pass
	if (!IS_ENABLED(CONFIG_BOOTLOADER_MCUBOOT)) {
		/* do nothing */
	} else if (!boot_is_img_confirmed()) {
		LOG_INF("New firmware detected. Pending confirmation.");

		if (run_self_tests()) {
			LOG_INF("Self-tests passed. Confirming image.");
			int rc = boot_write_img_confirmed();
			if (rc < 0) {
				LOG_ERR("Failed to confirm MCUboot image: %d", rc);
			}
		} else {
			LOG_ERR("Self-tests failed. Rebooting to revert firmware...");
			k_msleep(500); // Let logs flush
			sys_reboot(SYS_REBOOT_COLD);
		}
	} else {
		LOG_INF("Firmware already confirmed.");
	}

	oresat_fix_pdo_cob_ids(node_id);

	LOG_DBG("Opening CAN device");
	if (!device_is_ready(can.dev)) {
		LOG_ERR("CAN interface is not ready");
		k_msleep(1000);
		__ASSERT(false, "Fatal error");
	}

	LOG_INF("Starting CANopenNode (node_id=0x%02x, bitrate=%u kbps)",
			(unsigned)node_id, (unsigned)CAN_BITRATE);

	while (reset != CO_RESET_APP) {
		elapsed = 0U;
		wr_timeout_count = 0U;

		err = CO_init(&can, node_id, CAN_BITRATE);
		if (err != CO_ERROR_NO) {
			LOG_ERR("CO_init failed (err = %d)", err);
			k_msleep(1000);
			__ASSERT(false, "Fatal error");
		}

		if (IS_ENABLED(CONFIG_BOOTLOADER_MCUBOOT)) {
			canopen_program_download_attach(CO->NMT, CO->SDO[0], CO->em);
		}
		CO_CANsetNormalMode(CO->CANmodule[0]);
		CO->NMT->operatingState = 5;
		LOG_INF("Waiting for CANopen requests...");

		while (true) {
			bool_t syncWas = false;

#if 1
			timeout = 1U;
			timestamp = k_uptime_get();
			if (wr_timeout_count++ >= 1000U) {
				wr_timeout_count = 0U;
				
				/* Read inputs */
				CO_process_RPDO(CO, syncWas);

				/* Write outputs */
				CO_process_TPDO(CO, syncWas, timeout * 1000U * 1000U);
			}
			reset = CO_process(CO, (uint16_t)elapsed, &timeout);
			if (reset != CO_RESET_NOT) {
				break;
			}
#else
			timeout = 1000U;
			timestamp = k_uptime_get();

			/* Read inputs */
			CO_process_RPDO(CO, syncWas);

			/* Write outputs */
			CO_process_TPDO(CO, syncWas, timeout * 1000U);

			reset = CO_process(CO, (uint16_t)elapsed, &timeout);
			if (reset != CO_RESET_NOT) {
				break;
			}
#endif
			if (timeout > 0) {
				k_sleep(K_MSEC(timeout));
				elapsed = (uint32_t)k_uptime_delta(&timestamp);
			} else {
				elapsed = 0U;
			}

			if (reset == CO_RESET_COMM) {
				LOG_INF("Resetting communication");
			}
		}
	}
	CO_delete(&can);
	sys_reboot(SYS_REBOOT_COLD);
}

K_THREAD_DEFINE(can_id, CAN_THREAD_STACK_SIZE, handle_can, NULL, NULL, NULL, CAN_THREAD_PRIORITY, 0, 0);
```

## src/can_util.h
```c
#if !defined(_CAN_UTIL_H_)
#define _CAN_UTIL_H_

#define DEFAULT_NODE_ID 0x70

uint8_t load_node_id(void);
int store_node_id(uint8_t node_id);

#endif
```

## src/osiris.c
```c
/**
 * osiris.c
 *
 * Controls the bootup of the payload based on CANopen timeouts
 * 
 */
#include <stdio.h>
#include <zephyr/kernel.h>
#include <zephyr/drivers/gpio.h>
#include <zephyr/sys/printk.h>
#include <zephyr/sys/__assert.h>

#include <zephyr/device.h>
#include <zephyr/devicetree.h>
#include <zephyr/logging/log.h>

#include <canopennode.h>
#include <CO_OD.h>


LOG_MODULE_REGISTER(osiris, LOG_LEVEL_INF);

extern const k_tid_t osiris_id;

/* 1000 msec = 1 sec */
#define INTERLOOP_DELAY 1000

/* size of stack area used by each thread */
#define OSIRIS_THREAD_STACK_SIZE 1024

/* scheduling priority used by each thread */
#define PRIORITY -11

/* === GPIO data === */
#define BP_NODE DT_NODELABEL(scigpios)
static const struct gpio_dt_spec btldin_0 = GPIO_DT_SPEC_GET(BP_NODE, btldin_0_gpios);
static const struct gpio_dt_spec btldin_1 = GPIO_DT_SPEC_GET(BP_NODE, btldin_1_gpios);
static const struct gpio_dt_spec ocxo_nen = GPIO_DT_SPEC_GET(BP_NODE, ocxo_no_en_gpios);
static const struct gpio_dt_spec sep_nen = GPIO_DT_SPEC_GET(BP_NODE, sep_no_en_gpios);
static const struct gpio_dt_spec pico_nen = GPIO_DT_SPEC_GET(BP_NODE, pico_no_en_gpios);

static uint8_t state;

/* helper function to check that all of the gpios are working */
int verify_gpios(void)
{
	int ret;
	/* A bit ugly, but would otherwise take up much more room. */

	if (!device_is_ready(btldin_0.port)) {LOG_ERR("btldin_0 not ready");return -1;}
	if (!device_is_ready(btldin_1.port)) {LOG_ERR("btldin_1 not ready");return -1;}
	if (!device_is_ready(ocxo_nen.port)) {LOG_ERR("ocxo_nen not ready");return -1;}
	if (!device_is_ready(sep_nen.port )) {LOG_ERR("sep_nen  not ready");return -1;}
	if (!device_is_ready(pico_nen.port)) {LOG_ERR("pico_nen not ready");return -1;}

	/* Set it up */
	ret = gpio_pin_configure_dt(&btldin_0, GPIO_OUTPUT_ACTIVE);
	if (ret < 0) {LOG_ERR("Could not configure the btldin_0 GPIO pin: %d", ret);return ret;}
	ret = gpio_pin_configure_dt(&btldin_1, GPIO_OUTPUT_ACTIVE);
	if (ret < 0) {LOG_ERR("Could not configure the btldin_1 GPIO pin: %d", ret);return ret;}
	ret = gpio_pin_configure_dt(&ocxo_nen, GPIO_OUTPUT_ACTIVE);
	if (ret < 0) {LOG_ERR("Could not configure the btldin_0 GPIO pin: %d", ret);return ret;}
	ret = gpio_pin_configure_dt(&sep_nen, GPIO_OUTPUT_INACTIVE);
	if (ret < 0) {LOG_ERR("Could not configure the sep_nen  GPIO pin: %d", ret);return ret;}
	ret = gpio_pin_configure_dt(&pico_nen, GPIO_OUTPUT_INACTIVE);
	if (ret < 0) {LOG_ERR("Could not configure the pico_nen GPIO pin: %d", ret);return ret;}
	return 0;
}

uint8_t read_ocxo(void)
{
	gpio_flags_t * flag = 0;
	int ret;

	ret = gpio_pin_get_config_dt(&ocxo_nen, flag);
	if (ret < 0) {return 255;}
	switch (*flag) {
		case GPIO_OUTPUT_INACTIVE:
			return 0;
		case GPIO_OUTPUT_ACTIVE:
			return 1;
		default:
			return 254;
	}
}

uint8_t read_sep(void)
{
	gpio_flags_t * flag = 0;
	int ret;

	ret = gpio_pin_get_config_dt(&sep_nen, flag);
	if (ret < 0) {return 255;}
	switch (*flag) {
		case GPIO_OUTPUT_INACTIVE:
			return 0;
		case GPIO_OUTPUT_ACTIVE:
			return 1;
		default:
			return 254;
	}
}

uint8_t read_pico(void)
{
	gpio_flags_t * flag = 0;
	int ret;

	ret = gpio_pin_get_config_dt(&pico_nen, flag);
	if (ret < 0) {return 255;}
	switch (*flag) {
		case GPIO_OUTPUT_INACTIVE:
			return 0;
		case GPIO_OUTPUT_ACTIVE:
			return 1;
		default:
			return 254;
	}
}

static void handle_can_open_data(void)
{
    CO_LOCK_OD();

	CO_OD_RAM.status = 1;

	CO_OD_RAM.powerup.ocxo_gpio_state = read_ocxo();
	CO_OD_RAM.powerup.sep_gpio_state = read_sep();
	CO_OD_RAM.powerup.pico_gpio_state = read_pico();

	state = CO_OD_RAM.powerup.powerup_state;
	int bootmd = CO_OD_RAM.powerup.pico_boot_mode;
    CO_UNLOCK_OD();

	switch (state) {
		case 0:
			gpio_pin_set_dt(&ocxo_nen, false);
			gpio_pin_set_dt(&sep_nen, false);
			gpio_pin_set_dt(&pico_nen, false);
			return;
		case 1:
			gpio_pin_set_dt(&ocxo_nen, true);
			gpio_pin_set_dt(&sep_nen, false);
			gpio_pin_set_dt(&pico_nen, false);
			return;
		case 2:
			gpio_pin_set_dt(&ocxo_nen, true);
			gpio_pin_set_dt(&sep_nen, true);
			gpio_pin_set_dt(&pico_nen, false);
			return;
		case 3:
			gpio_pin_set_dt(&ocxo_nen, true);
			gpio_pin_set_dt(&sep_nen, true);
			gpio_pin_set_dt(&pico_nen, true);
			return;
		default:
			return;
	}

	if (bootmd) {
		gpio_pin_set_dt(&btldin_0, true);
	} else {
		gpio_pin_set_dt(&btldin_0, false);
	}
}

static int handle_bootup(void)
{
	int ret;
	ret = verify_gpios();
	if (ret < 0) {
		return ret;
	}
	state = 0;

	LOG_INF("Starting osiris powerup state machine");
	/* for the sake of simplicity I will be using ints to mark the state. Refer to oresat-configs-esi for the definitions */
	while (1) {
		handle_can_open_data();
		k_msleep(INTERLOOP_DELAY);
	}
	return 0;
}

K_THREAD_DEFINE(osiris_id, OSIRIS_THREAD_STACK_SIZE, handle_bootup, NULL, NULL, NULL, PRIORITY, 0, 0);
```

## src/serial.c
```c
/*
 *  Handles relaying information from the c3 to the picozed.
 *
 */
#include <zephyr/kernel.h>
#include <zephyr/device.h>
#include <zephyr/drivers/uart.h>
#include <zephyr/sys/ring_buffer.h>
#include <zephyr/settings/settings.h>
#include <zephyr/logging/log.h>

#include <stdio.h>
#include <string.h>

LOG_MODULE_REGISTER(esi_passthrough, CONFIG_LOG_DEFAULT_LEVEL);

struct patch_info {
	const uint8_t * const name;

	const struct device *rx_dev;
	struct ring_buf *rx_ring_buf;
	bool rx_error;
	bool rx_overflow;

	const struct device *tx_dev;
};

extern const k_tid_t serial_id;

/* size of stack area used by each thread */
#define SERIAL_THREAD_STACK_SIZE 4096

/* scheduling priority used by each thread */
#define SERIAL_THREAD_PRIORITY 0

#define DEV_CCC	DEVICE_DT_GET(DT_CHOSEN(uart_ccc))
#define DEV_INST DEVICE_DT_GET(DT_ALIAS(instr))
#define DEV_CONSOLE	DEVICE_DT_GET(DT_CHOSEN(zephyr_console))

#define RING_BUF_SIZE 64

RING_BUF_DECLARE(rb_ccc, RING_BUF_SIZE);
struct patch_info patch_ccc2inst = {
	.name = "ccc2inst",

	.rx_dev = DEV_CCC,
	.rx_ring_buf = &rb_ccc,
	.rx_error = false,
	.rx_overflow = false,

	.tx_dev = DEV_INST,
};

RING_BUF_DECLARE(rb_inst, RING_BUF_SIZE);
struct patch_info patch_inst2ccc = {
	.name = "inst2ccc",

	.rx_dev = DEV_INST,
	.rx_ring_buf = &rb_inst,
	.rx_error = false,
	.rx_overflow = false,

	.tx_dev = DEV_CCC,
};

static void uart_cb(const struct device *dev, void *ctx)
{
	struct patch_info *patch = (struct patch_info *)ctx;
	int ret;
	uint8_t *buf;
	uint32_t len;

	while (uart_irq_update(patch->rx_dev) > 0) {
		ret = uart_irq_rx_ready(patch->rx_dev);
		if (ret < 0) {
			patch->rx_error = true;
		}
		if (ret <= 0) {
			break;
		}

		len = ring_buf_put_claim(patch->rx_ring_buf, &buf, RING_BUF_SIZE);
		if (len == 0) {
			/* no space for Rx, disable the IRQ */
			uart_irq_rx_disable(patch->rx_dev);
			patch->rx_overflow = true;
			break;
		}

		ret = uart_fifo_read(patch->rx_dev, buf, len);
		if (ret < 0) {
			patch->rx_error = true;
		}
		if (ret <= 0) {
			break;
		}
		len = ret;

		ret = ring_buf_put_finish(patch->rx_ring_buf, len);
		if (ret != 0) {
			patch->rx_error = true;
			break;
		}
	}
}

struct uart_config uart_cfg = {
	.baudrate = 9600,
	.parity = UART_CFG_PARITY_NONE,
	.stop_bits = UART_CFG_STOP_BITS_1,
	.flow_ctrl = UART_CFG_FLOW_CTRL_NONE,
	.data_bits = UART_CFG_DATA_BITS_8,
};

static void passthrough(struct patch_info *patch)
{
	int ret;
	uint8_t *buf;
	uint32_t len;

	if (patch->rx_error) {
		LOG_ERR("<<%s: Rx Error!>>\n", patch->name);
		patch->rx_error = false;
	}

	if (patch->rx_overflow) {
		LOG_ERR("<<%s: Rx Overflow!>>\n", patch->name);
		patch->rx_overflow = false;
	}

	len = ring_buf_get_claim(patch->rx_ring_buf, &buf, RING_BUF_SIZE);
	if (len == 0) {
		goto done;
	}
	struct uart_config *cfg;

	ret = uart_fifo_fill(patch->tx_dev, buf, len);
	// uart_poll_out(patch->tx_dev, buf[0]);
	if (ret < 0) {
		goto error;
	}
	len = ret;

	ret = ring_buf_get_finish(patch->rx_ring_buf, len);
	if (ret < 0) {
		goto error;
	}

done:
	uart_irq_rx_enable(patch->rx_dev);
	return;

error:
	LOG_ERR("<<%s: Tx Error!>>\n", patch->name);
}

static int handle_serial (void *p1, void *p2, void *p3)
{
	/* Can we use the LED? */
	if (!device_is_ready(DEV_CCC)) {
		LOG_ERR("LED device is not ready");
		return -1;
	}
	if (!device_is_ready(DEV_INST)) {
		LOG_ERR("LED device is not ready");
		return -1;
	}

	// int rc = uart_configure(DEV_INST, &uart_cfg);
	// if (rc) {
	// 	printk("Could not configure device %s", DEV_INST -> name);
	// 	LOG_ERR("AAAAAAAAAAAAAAA");
	// 	return -1;
	// }

	uart_irq_callback_user_data_set(patch_ccc2inst.rx_dev, uart_cb, (void *)&patch_ccc2inst);
	uart_irq_callback_user_data_set(patch_inst2ccc.rx_dev, uart_cb, (void *)&patch_inst2ccc);

	for (;;) {
		passthrough(&patch_ccc2inst);
		passthrough(&patch_inst2ccc);
	}

	return 0;
}

K_THREAD_DEFINE(serial_id, SERIAL_THREAD_STACK_SIZE, handle_serial, NULL, NULL, NULL, SERIAL_THREAD_PRIORITY, 0, 0);
```
